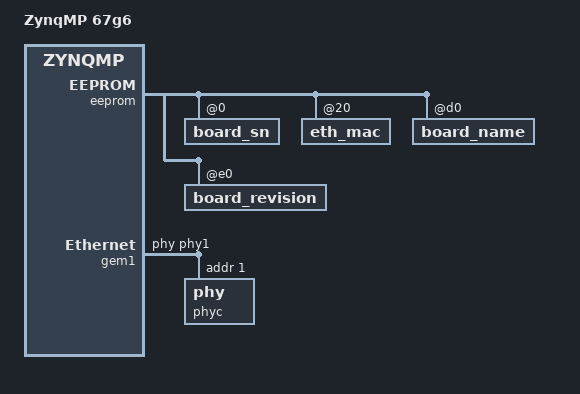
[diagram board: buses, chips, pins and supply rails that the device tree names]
/*
 * dts file for NAI ZynqMP 67G6
 *
 * (C) Copyright 2018, North Atlantics, Inc.
 *
 * NAI <nai@naii.com>
 *
 * SPDX-License-Identifier:	GPL-2.0+
 */

#include "zynqmp-67g6-base.dts"

/ {
	model = "ZynqMP 67g6";
	compatible = "nai,zynqmp-67g6", "xlnx,zynqmp";
};

&eeprom  {
	#address-cells = <1>;
	#size-cells = <1>;

	board_sn: board_sn@0 {
		reg = <0x0 0x14>;
	};

	eth_mac: eth_mac@20 {
		reg = <0x20 0x6>;
	};

	board_name: board_name@d0 {
		reg = <0xd0 0x6>;
        };
		board_revision: board_revision@e0 {
		reg = <0xe0 0x3>;
	};
};

&gem1 {
	phy-handle = <&phy1>;
	phyc: phy@1 {
		reg = <0x1>;
		ti,rx-internal-delay = <0x8>;
		ti,tx-internal-delay = <0xa>;
		ti,fifo-depth = <0x1>;
		ti,rxctrl-strap-worka;
	};
	/* Cleanup from RevA */
	/delete-node/ phy@21;
};

